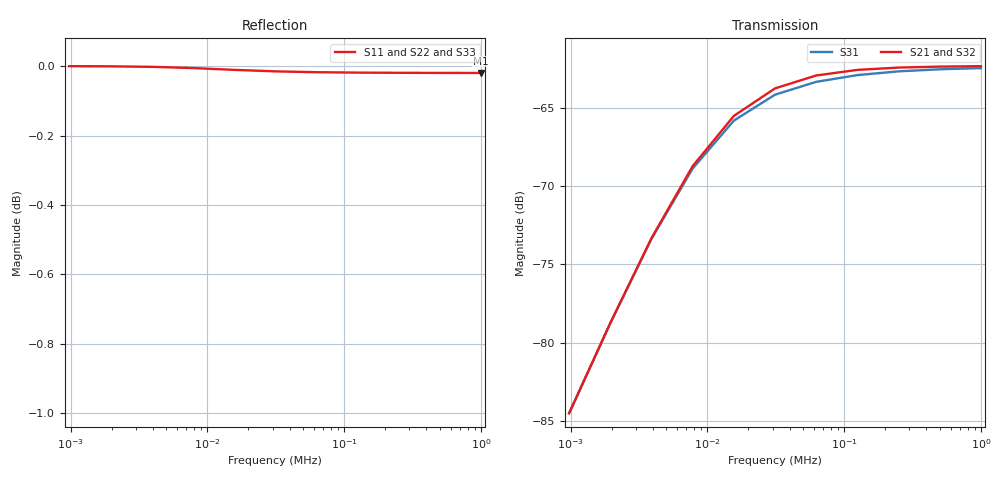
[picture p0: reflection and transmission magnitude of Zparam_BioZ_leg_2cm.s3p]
# MHz Z RI R 50
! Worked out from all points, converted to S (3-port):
!   11 points, 976.6 Hz to 1 MHz, reference 50 ohm
!   strongest paths, dB at 976.6 Hz, 3.906 kHz, 31.25 kHz, 250 kHz, 1 MHz:
!     S21: -84.5, -73.3, -63.7, -62.4, -62.3
!     S32: -84.5, -73.3, -63.9, -62.5, -62.4
!     S31: -84.5, -73.4, -64.1, -62.7, -62.5
!   lowest |S11| = 0.0 dB at 1 MHz (marker M1), VSWR 879.25, Z = 4.39e+04 - j807 ohm
!   |S11| at or under -10 dB: nowhere
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0.000976563  2309 -1.668e+04  1167 -8341  1142 -8344
             1167 -8341  2300 -1.668e+04  1150 -8342
             1142 -8344  1150 -8342  2276 -1.669e+04
0.00195313  1981 -8442  1003 -4220  978.3 -4222
            1003 -4220  1972 -8442  986.4 -4221
            978.3 -4222  986.4 -4221  1948 -8445
0.00390625  1786 -4304  905 -2151  881.4 -2153
            905 -2151  1778 -4303  889.2 -2152
            881.4 -2153  889.2 -2152  1755 -4306
0.0078125  1650 -2219  836 -1109  813.4 -1111
           836 -1109  1641 -2219  820.8 -1109
           813.4 -1111  820.8 -1109  1619 -2221
0.015625  1546 -1161  783.9 -580.2  762.4 -581.2
          783.9 -580.2  1538 -1161  769.3 -580.6
          762.4 -581.2  769.3 -580.6  1517 -1162
0.03125  1468 -617  743.8 -308.8  724.2 -308.2
         743.8 -308.8  1460 -616.6  730.3 -308.3
         724.2 -308.2  730.3 -308.3  1441 -616
0.0625  1411 -330.4  713.7 -166.4  696.9 -164
        713.7 -166.4  1403 -329.6  701.8 -164.8
        696.9 -164  701.8 -164.8  1387 -327.3
0.125  1371 -176.1  692 -89.74  679.1 -86.37
       692 -89.74  1365 -174.9  682.5 -87.45
       679.1 -86.37  682.5 -87.45  1352 -171.5
0.25  1345 -92.45  677.2 -47.79  668.1 -44.65
      677.2 -47.79  1340 -91.05  670.2 -45.54
      668.1 -44.65  670.2 -45.54  1331 -87.93
1  1320 -24.82  662.5 -13.11  657.8 -11.7
   662.5 -13.11  1317 -24.04  658.7 -12.03
   657.8 -11.7  658.7 -12.03  1313 -22.64
